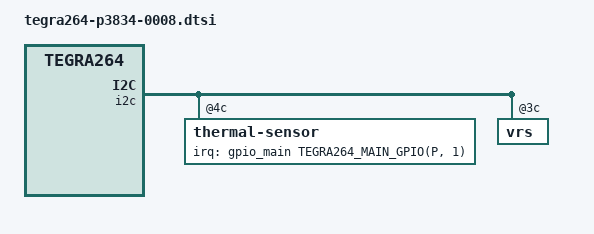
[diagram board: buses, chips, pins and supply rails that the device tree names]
// SPDX-License-Identifier: GPL-2.0-only
// SPDX-FileCopyrightText: Copyright (c) 2024-2025, NVIDIA CORPORATION & AFFILIATES.  All rights reserved.

#include "tegra264-p3834-common.dtsi"
#include "nv-soc/tegra264-soc-thermal-slowdown.dtsi"
#include "nv-soc/tegra264-soc-thermal-shutdown.dtsi"
#include "nv-soc/tegra264-soc-thermal-trip-event.dtsi"

/ {
	bpmp {
		i2c {
			thermal-sensor@4c {
				interrupt-parent = <&gpio_main>;
				interrupts = <TEGRA264_MAIN_GPIO(P, 1) IRQ_TYPE_LEVEL_LOW>;
			};

			vrs@3c {
				// Format:
				// <reg, val, ops>[, <reg, val, ops>];
				//
				// Description:
				// - reg -> i2c register address
				// - val -> value to write
				// - ops -> AND/OR operation (0=OR, 1=AND)
				//
				// UEFI implementation:
				// 1. var = read <reg> register
				// 2. var = var <ops> <val>
				// 3. write var into <reg> register
				nvidia,uefi-vrs-pseq-init = <0x25 0xf7 0x1>;
			};
		};
	};

	nvtherm-oc-event {
		status = "okay";
	};
};
